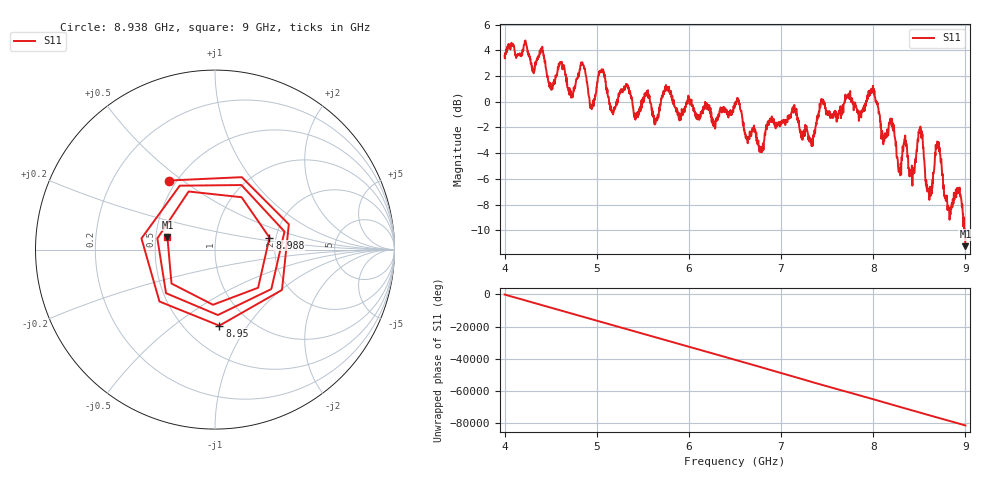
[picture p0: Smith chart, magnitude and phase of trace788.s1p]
! Created with skrf 1.8.0 (http://scikit-rf.org).
# Hz S RI R 50.0
!freq ReS11 ImS11
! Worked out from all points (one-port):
!   1601 points, 4 GHz to 9 GHz, reference 50 ohm
!   lowest |S11| = -11.2 dB at 9 GHz (marker M1), VSWR 1.76, Z = 28.8 + j4.35 ohm
!   |S11| at or under -10 dB: 8.986676 GHz to 8.989628 GHz (2.952 MHz wide, 0.0328 % of centre); 8.992021 GHz to end of sweep
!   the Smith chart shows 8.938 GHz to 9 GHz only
!   S11 on the Smith chart (normalised r, x): 8.938 GHz: 0.45, +0.44; 8.95 GHz: 0.72, -0.75; 8.988 GHz: 1.85, +0.27; 9 GHz: 0.58, +0.09
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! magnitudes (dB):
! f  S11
! 4 GHz  3.6
! 4.503 GHz  0.9
! 4.625 GHz  2.9
! 4.722 GHz  0.3
! 4.847 GHz  2.9
! 4.947 GHz  -0.3
! 5.047 GHz  2.3
! 5.159 GHz  -0.7
! 5.25 GHz  0.6
! 5.875 GHz  -0.6
! 6.5 GHz  -0.3
! 6.784 GHz  -3.9
! 7.125 GHz  -0.5
! 7.322 GHz  -3.2
! 7.444 GHz  0.1
! 7.75 GHz  0.8
! 7.994 GHz  1.0
! 8.278 GHz  -5.4
! 8.375 GHz  -4.2
! 8.428 GHz  -5.7
! 8.509 GHz  -2.3
! 8.603 GHz  -7.0
! 8.703 GHz  -3.3
! 8.812 GHz  -8.3
! 8.938 GHz  -6.7
! 8.95 GHz  -7.4
! 8.988 GHz  -10.1
! 9 GHz  -11.2
